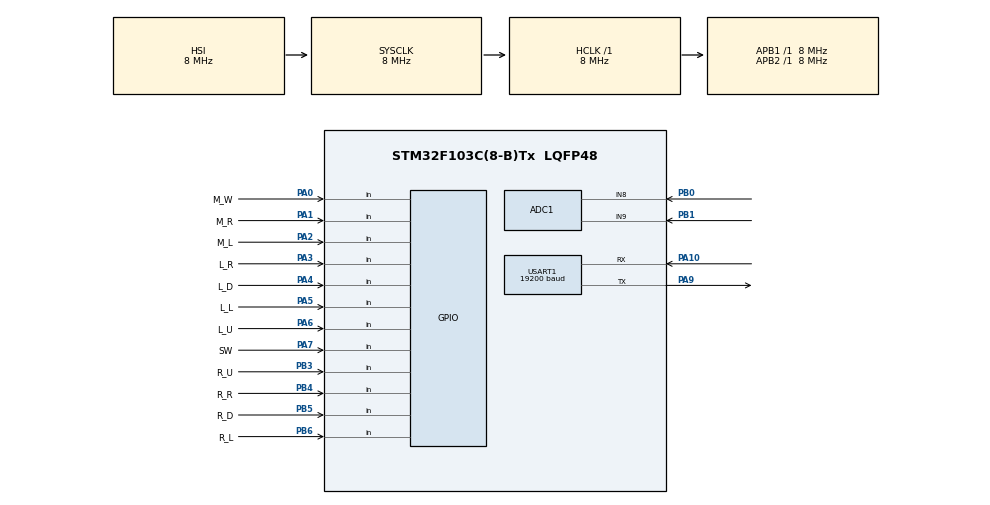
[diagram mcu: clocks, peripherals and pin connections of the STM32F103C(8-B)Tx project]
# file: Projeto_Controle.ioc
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Mcu.Family=STM32F1
NVIC.ADC1_2_IRQn=true\:1\:0\:true\:false\:true\:true\:true
PA2.GPIO_PuPd=GPIO_PULLDOWN
USART1.BaudRate=19200
PA3.GPIO_PuPd=GPIO_PULLDOWN
PA6.GPIO_Label=L_U
PB6.GPIO_Label=R_L
ProjectManager.StackSize=0x400
PD1-OSC_OUT.Signal=RCC_OSC_OUT
RCC.HCLKFreq_Value=8000000
RCC.APB2TimFreq_Value=8000000
TIM3.Period=999
PB6.Signal=GPIO_Input
Dma.ADC1.0.Direction=DMA_PERIPH_TO_MEMORY
PA1.GPIO_PuPd=GPIO_PULLDOWN
Dma.ADC1.0.MemDataAlignment=DMA_MDATAALIGN_HALFWORD
RCC.AHBFreq_Value=8000000
ADC1.Channel-0\#ChannelRegularConversion=ADC_CHANNEL_8
PA4.GPIO_PuPd=GPIO_PULLDOWN
PA6.GPIO_PuPd=GPIO_PULLDOWN
PB3.GPIO_PuPd=GPIO_PULLDOWN
PA14.Mode=Serial_Wire
TIM3.Prescaler=79
PA5.GPIO_PuPd=GPIO_PULLDOWN
Dma.ADC1.0.PeriphInc=DMA_PINC_DISABLE
SH.ADCx_IN8.0=ADC1_IN8,IN8
ADC1.SamplingTime-0\#ChannelRegularConversion=ADC_SAMPLETIME_7CYCLES_5
Mcu.Package=LQFP48
PB1.Signal=ADCx_IN9
PA6.Signal=GPIO_Input
PA2.GPIO_Label=M_L
PA10.Signal=USART1_RX
SH.ADCx_IN9.0=ADC1_IN9,IN9
PB5.GPIO_Label=R_D
RCC.APB1TimFreq_Value=8000000
NVIC.USART1_IRQn=true\:3\:0\:true\:false\:true\:true\:true
Dma.Request0=ADC1
PA4.GPIO_Label=L_D
VP_TIM3_VS_ClockSourceINT.Mode=Internal
PB4.Signal=GPIO_Input
PA3.Signal=GPIO_Input
PB3.GPIO_Label=R_U
RCC.PLLSourceVirtual=RCC_PLLSOURCE_HSE
Dma.ADC1.0.Instance=DMA1_Channel1
ADC1.Rank-0\#ChannelRegularConversion=1
PD1-OSC_OUT.Mode=HSE-External-Oscillator
PA10.Mode=Asynchronous
PB6.GPIO_PuPd=GPIO_PULLDOWN
PD0-OSC_IN.Signal=RCC_OSC_IN
PA0-WKUP.GPIO_Label=M_W
PA0-WKUP.Signal=GPIO_Input
PA13.Signal=SYS_JTMS-SWDIO
Dma.ADC1.0.PeriphDataAlignment=DMA_PDATAALIGN_HALFWORD
PA9.Mode=Asynchronous
ProjectManager.TargetToolchain=STM32CubeIDE
Dma.ADC1.0.Mode=DMA_CIRCULAR
Dma.ADC1.0.Priority=DMA_PRIORITY_LOW
PA9.Signal=USART1_TX
ADC1.Channel-1\#ChannelRegularConversion=ADC_CHANNEL_9
PB4.GPIO_PuPd=GPIO_PULLDOWN
RCC.USBFreq_Value=16000000
PA7.GPIO_PuPd=GPIO_PULLDOWN
PA1.Signal=GPIO_Input
PD0-OSC_IN.Mode=HSE-External-Oscillator
PA5.Signal=GPIO_Input
board=custom
RCC.APB2Freq_Value=8000000
PB4.GPIO_Label=R_R
USART1.Mode=MODE_TX
PA1.GPIO_Label=M_R
ADC1.NbrOfConversion=2
PA13.Mode=Serial_Wire
Mcu.Name=STM32F103C(8-B)Tx
PA2.Signal=GPIO_Input
ADC1.ExternalTrigConv=ADC_EXTERNALTRIGCONV_T3_TRGO
PB3.Signal=GPIO_Input
PA4.Signal=GPIO_Input
ADC1.SamplingTime-1\#ChannelRegularConversion=ADC_SAMPLETIME_7CYCLES_5
RCC.SYSCLKFreq_VALUE=8000000
PB5.Signal=GPIO_Input
PA7.GPIO_Label=SW
ADC1.master=1
PA5.GPIO_Label=L_L
PB5.GPIO_PuPd=GPIO_PULLDOWN
USART1.VirtualMode=VM_ASYNC
ADC1.Rank-1\#ChannelRegularConversion=2
PA14.Signal=SYS_JTCK-SWCLK
Dma.ADC1.0.MemInc=DMA_MINC_ENABLE
ProjectManager.HeapSize=0x200
NVIC.PriorityGroup=NVIC_PRIORITYGROUP_4
ADC1.NbrOfConversionFlag=1
PA0-WKUP.GPIO_PuPd=GPIO_PULLDOWN
NVIC.DMA1_Channel1_IRQn=true\:0\:0\:false\:false\:true\:false\:true
TIM3.TIM_MasterOutputTrigger=TIM_TRGO_UPDATE
RCC.APB1Freq_Value=8000000
PB0.Signal=ADCx_IN8
PA3.GPIO_Label=L_R
PA7.Signal=GPIO_Input

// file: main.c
/* USER CODE BEGIN Header */
/**
  ******************************************************************************
  * @file           : main.c
  * @brief          : Main program body
  ******************************************************************************
  * @attention
  *
  * <h2><center>&copy; Copyright (c) 2021 STMicroelectronics.
  * All rights reserved.</center></h2>
  *
  * This software component is licensed by ST under BSD 3-Clause license,
  * the "License"; You may not use this file except in compliance with the
  * License. You may obtain a copy of the License at:
  *                        opensource.org/licenses/BSD-3-Clause
  *
  ******************************************************************************
  */
/* USER CODE END Header */
#include "main.h"
#include "adc.h"
#include "dma.h"
#include "tim.h"
#include "usart.h"
#include "gpio.h"

/* USER CODE BEGIN Includes */
#define X 1
#define Y 0

#define MOUSE_MASK 0b111 //Pins PA0-PA2 -> W/R/L mouse button
#define MOUSE_OFFSET 0 //Starts at PA0
#define LEFT_KEYS_MASK 0b11111000 //Pins PA3-PA7 -> R/D/L/U/SW left keys
#define LEFT_KEYS_OFFSET 03 //Starts at PA3
#define RIGHT_KEYS_MASK 0b1111000 //Pins PB3-PB6 -> U/R/D/L right keys
#define RIGHT_KEYS_OFFSET 03 //Starts at PB3

#define SENSIBILITY 200 //higher -> less sensible
/* USER CODE END Includes */

/* USER CODE BEGIN PV */

uint16_t axis[2];

int8_t buffer[6];

/* USER CODE END PV */

void SystemClock_Config(void);

int main(void)
{

  /* MCU Configuration--------------------------------------------------------*/

  /* Reset of all peripherals, Initializes the Flash interface and the Systick. */
  HAL_Init();

  /* Configure the system clock */
  SystemClock_Config();

  /* Initialize all configured peripherals */
  MX_GPIO_Init();
  MX_DMA_Init();
  MX_ADC1_Init();
  MX_TIM3_Init();
  MX_USART1_UART_Init();
  /* USER CODE BEGIN 2 */

  HAL_TIM_Base_Start(&htim3);

  HAL_ADC_Start_DMA(&hadc1, (uint32_t*) &axis[0], 2);

  /* USER CODE END 2 */

  /* Infinite loop */
  /* USER CODE BEGIN WHILE */
  while (1)
  {
	  if(__HAL_TIM_GET_FLAG(&htim3, TIM_FLAG_UPDATE))__HAL_TIM_CLEAR_FLAG(&htim3,TIM_FLAG_UPDATE);

    /* USER CODE END WHILE */

  }
}

void SystemClock_Config(void)
{
  RCC_OscInitTypeDef RCC_OscInitStruct = {0};
  RCC_ClkInitTypeDef RCC_ClkInitStruct = {0};
  RCC_PeriphCLKInitTypeDef PeriphClkInit = {0};

  /** Initializes the RCC Oscillators according to the specified parameters
  * in the RCC_OscInitTypeDef structure.
  */
  RCC_OscInitStruct.OscillatorType = RCC_OSCILLATORTYPE_HSI;
  RCC_OscInitStruct.HSIState = RCC_HSI_ON;
  RCC_OscInitStruct.HSICalibrationValue = RCC_HSICALIBRATION_DEFAULT;
  RCC_OscInitStruct.PLL.PLLState = RCC_PLL_NONE;
  if (HAL_RCC_OscConfig(&RCC_OscInitStruct) != HAL_OK)
  {
    Error_Handler();
  }
  /** Initializes the CPU, AHB and APB buses clocks
  */
  RCC_ClkInitStruct.ClockType = RCC_CLOCKTYPE_HCLK|RCC_CLOCKTYPE_SYSCLK
                              |RCC_CLOCKTYPE_PCLK1|RCC_CLOCKTYPE_PCLK2;
  RCC_ClkInitStruct.SYSCLKSource = RCC_SYSCLKSOURCE_HSI;
  RCC_ClkInitStruct.AHBCLKDivider = RCC_SYSCLK_DIV1;
  RCC_ClkInitStruct.APB1CLKDivider = RCC_HCLK_DIV1;
  RCC_ClkInitStruct.APB2CLKDivider = RCC_HCLK_DIV1;

  if (HAL_RCC_ClockConfig(&RCC_ClkInitStruct, FLASH_LATENCY_0) != HAL_OK)
  {
    Error_Handler();
  }
  PeriphClkInit.PeriphClockSelection = RCC_PERIPHCLK_ADC;
  PeriphClkInit.AdcClockSelection = RCC_ADCPCLK2_DIV2;
  if (HAL_RCCEx_PeriphCLKConfig(&PeriphClkInit) != HAL_OK)
  {
    Error_Handler();
  }
}

/* USER CODE BEGIN 4 */

void HAL_ADC_ConvCpltCallback(ADC_HandleTypeDef* hadc)
{
	__HAL_TIM_CLEAR_FLAG(&htim3, TIM_FLAG_UPDATE);
	buffer[0] = 'U';
	buffer[1] = ((int16_t)axis[X]-2048)/SENSIBILITY;
	buffer[2] = ((int16_t)axis[Y]-2048)/SENSIBILITY;

	buffer[3] = (GPIOA->IDR & MOUSE_MASK)>>MOUSE_OFFSET;
	buffer[4] = (GPIOA->IDR & LEFT_KEYS_MASK)>>LEFT_KEYS_OFFSET;
	buffer[5] = (GPIOB->IDR & RIGHT_KEYS_MASK)>>RIGHT_KEYS_OFFSET;

	HAL_UART_Transmit_IT(&huart1, (uint8_t*)&buffer[0], 6);

	//HAL_ADC_Start_DMA(&hadc1, (uint32_t*) &axis[0], 2);
}

/* USER CODE END 4 */

void Error_Handler(void)
{
  __disable_irq();
  while (1)
  {
  }
}

/************************ (C) COPYRIGHT STMicroelectronics *****END OF FILE****/
